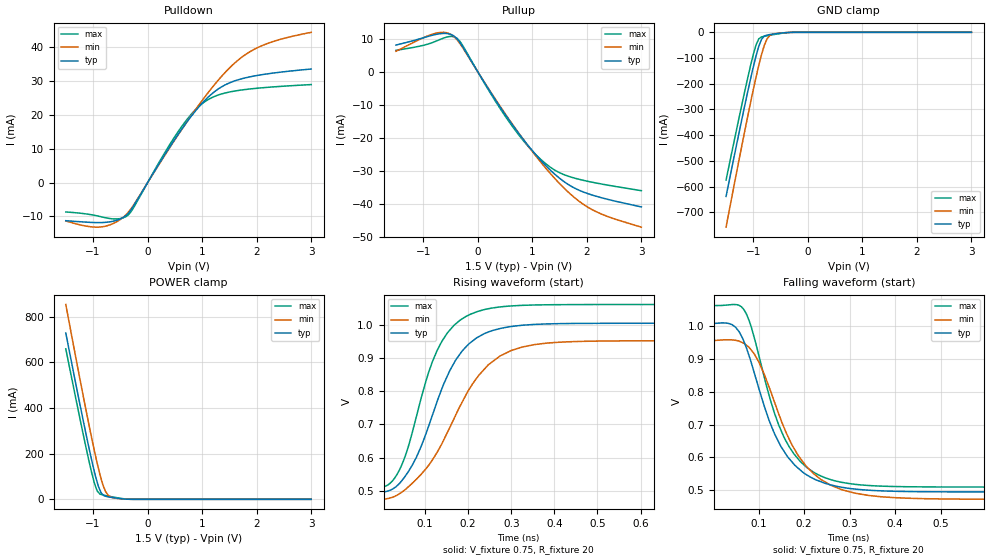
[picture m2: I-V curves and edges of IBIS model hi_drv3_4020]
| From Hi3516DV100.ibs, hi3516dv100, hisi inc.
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|   Model hi_drv3_4020
[Model]   hi_drv3_4020
Model_type   I/O
Polarity   Non-Inverting
Enable   Active-High
Vinl = 0.575
Vinh = 0.925
Vmeas = 0.75
Cref = 0
Rref = 20
Vref = 0.75
| variable   typ   min   max
C_comp   3.71825p   3.5711p   3.88438p
| Subparameter   typ   min   max
[Model Spec]
Vinl   0.575   0.575   0.575
Vinh   0.925   0.925   0.925
Vmeas   0.75   0.75   0.75
Cref   0   0   0
Rref   20   20   20
Vref   0.75   0.75   0.75
| Variable   typ   min   max
[Temperature Range] 25   125   -40
| Variable   typ   min   max
[Voltage Range]   1.5   1.425   1.575
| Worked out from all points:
|   slope of the pulldown table from 0 to 0.225 V, typ, clamps not added: 37.7 ohm
|   slope of the pullup table from 0 to 0.225 V, typ, clamps not added: 37.6 ohm
|   GND clamp passes 1 mA (typ) near -0.39 V on its own axis
|   POWER clamp passes 1 mA (typ) near -0.41 V on its own axis
|   rising waveform, V_fixture 0.75, R_fixture 20: 20-80 % time 97.4ps typ, 126ps min, 81.1ps max; typ from 0.496 V to 1 V
|   falling waveform, V_fixture 0.75, R_fixture 20: 20-80 % time 86.4ps typ, 97.1ps min, 80ps max; typ from 1.01 V to 0.495 V
[Power_clamp]
| Note that the [POWER_clamp] voltage table is referenced to Vcc
| and is calculated using Vtable=Vcc - Vmeasured.
| Voltage   I(typ)   I(min)   I(max)
-1.5V     727.7mA    852.8mA    658.7mA
-1.125V   281.1mA    385.1mA    221.9mA
-1.025V   171mA      267.7mA    116.1mA
-975mV    120.3mA    211.6mA    70.26mA
-925mV    75.44mA    158.3mA    36.86mA
-900mV    54.88mA    133.8mA    29.99mA
-850mV    27.44mA    88.23mA    21.16mA
-775mV    14.07mA    35.68mA    16.66mA
-725mV    11.03mA    17.7mA     14.3mA
-625mV    7.126mA    6.658mA    9.778mA
-325mV    220.9uA    245.7uA    291.3uA
3V        -35.46nA   -806.7nA   -14.61nA
[Pulldown]
| Voltage   I(typ)   I(min)   I(max)
-1.5V     -11.25mA   -11.33mA   -8.681mA
-900mV    -11.82mA   -13.16mA   -9.914mA
-650mV    -11.47mA   -12.22mA   -10.69mA
-450mV    -10.33mA   -10.29mA   -10.43mA
-300mV    -7.938mA   -7.636mA   -8.489mA
600mV     15.21mA    15.08mA    16.01mA
850mV     20.64mA    20.93mA    21.1mA
1.05V     24.32mA    25.35mA    23.94mA
1.4V      28.71mA    32.2mA     26.41mA
1.85V     31.19mA    38.44mA    27.64mA
2.3V      32.38mA    41.7mA     28.29mA
3V        33.58mA    44.43mA    28.99mA
[Pullup]
| Voltage   I(typ)   I(min)   I(max)
-1.5V     8.071mA    6.185mA    6.47mA
-825mV    11.07mA    11.39mA    8.858mA
-625mV    11.59mA    11.93mA    10.19mA
-475mV    11.15mA    11.13mA    10.69mA
-325mV    8.772mA    8.49mA     9.171mA
225mV     -5.971mA   -5.809mA   -6.292mA
675mV     -16.96mA   -16.81mA   -17.44mA
1.225V    -28.05mA   -28.76mA   -27.55mA
1.6V      -33.48mA   -35.51mA   -31.27mA
1.975V    -36.65mA   -40.56mA   -33.02mA
2.375V    -38.61mA   -43.79mA   -34.31mA
3V        -40.93mA   -47.06mA   -36.01mA
[GND_clamp]
| Voltage   I(typ)   I(min)   I(max)
-1.5V     -638.4mA   -758mA     -574.9mA
-1.15V    -277.9mA   -376.6mA   -222.6mA
-1.05V    -180.7mA   -272.8mA   -128.8mA
-950mV    -91.74mA   -174.3mA   -48.96mA
-900mV    -54.39mA   -128.6mA   -25.47mA
-850mV    -27.43mA   -86.91mA   -17.81mA
-800mV    -14.76mA   -51.66mA   -15.26mA
-750mV    -10.72mA   -26.32mA   -13.3mA
-700mV    -8.829mA   -12.74mA   -11.42mA
-600mV    -5.884mA   -5.023mA   -7.823mA
-300mV    -153uA     -214.7uA   -185.4uA
3V        64.26nA    942.4nA    12.95nA
[Ramp]
| Variable   typ   min   max
dV/dt_r   0.307971/0.086211n 0.29073/0.09674n  0.332599/0.08003n
dV/dt_f   0.307971/0.086211n 0.29073/0.09674n  0.332599/0.08003n
R_load = 20
[Rising_Waveform]
V_fixture = 0.75
V_fixture_min = 0.7125
V_fixture_max = 0.7875
R_fixture = 20
| Time   V(typ)   V(min)   V(max)
4.17ps    496.3mV    474.4mV    512.3mV
40.26ps   521.3mV    490.7mV    561.4mV
70.68ps   577.7mV    522.9mV    676.2mV
117.3ps   728.4mV    593.4mV    889.6mV
151.6ps   845.1mV    674.3mV    975.2mV
186.2ps   921.2mV    767.4mV    1.018V
247.1ps   978.6mV    880mV      1.049V
299ps     994.9mV    922.3mV    1.057V
354.3ps   1.001V     940.6mV    1.06V
18.55ns   1.005V     952.1mV    1.061V
[Falling_Waveform]
V_fixture = 0.75
V_fixture_min = 0.7125
V_fixture_max = 0.7875
R_fixture = 20
| Time   V(typ)   V(min)   V(max)
1.43ps    1.007V     955mV      1.061V
49.15ps   995.7mV    955.8mV    1.064V
72.97ps   933.7mV    941mV      1.036V
101.3ps   805.6mV    887.3mV    905.1mV
125.2ps   705.3mV    805.8mV    777.5mV
144.1ps   646.7mV    732.4mV    698.7mV
191.9ps   561.4mV    596.6mV    587.1mV
258.7ps   516.4mV    515.5mV    532.4mV
396.4ps   497.3mV    478.1mV    511.7mV
18.55ns   495.3mV    472.8mV    510.1mV
